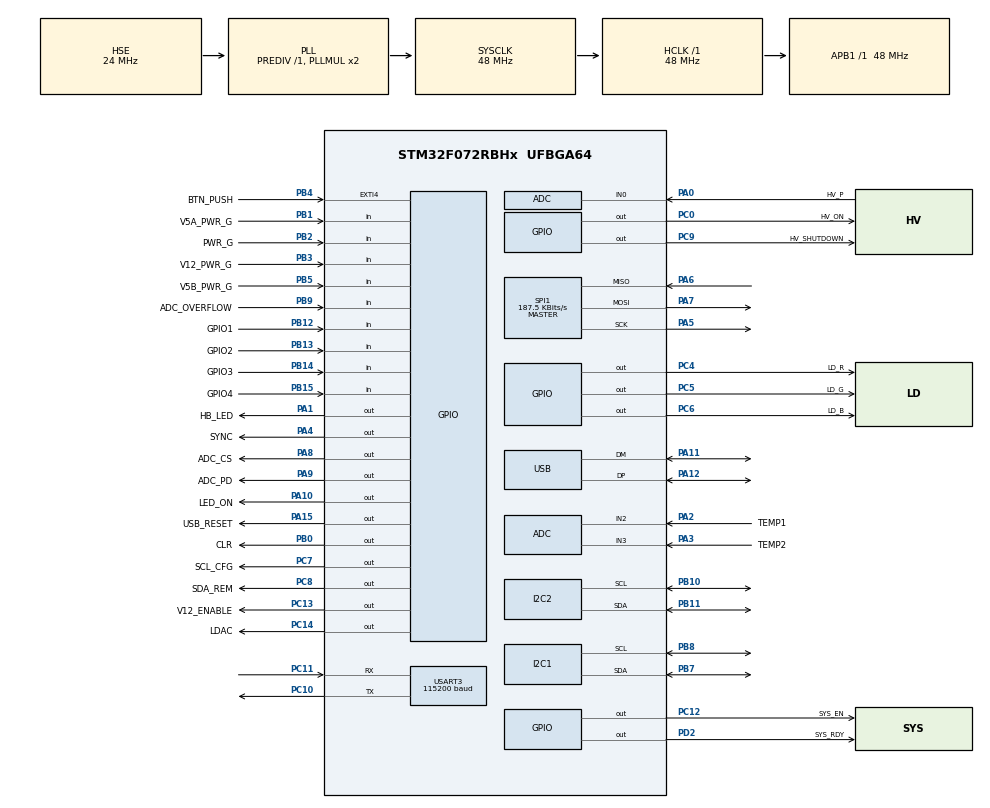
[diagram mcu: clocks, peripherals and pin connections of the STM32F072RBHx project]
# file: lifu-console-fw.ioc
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ADC.ClockPrescaler=ADC_CLOCK_SYNC_PCLK_DIV4
ADC.ContinuousConvMode=ENABLE
ADC.SamplingTime=ADC_SAMPLETIME_28CYCLES_5
Dma.Request0=USART3_RX
Dma.Request1=USART3_TX
Dma.Request2=TIM16_CH1/UP
Dma.TIM16_CH1/UP.2.Direction=DMA_PERIPH_TO_MEMORY
Dma.TIM16_CH1/UP.2.Instance=DMA1_Channel4
Dma.TIM16_CH1/UP.2.MemDataAlignment=DMA_MDATAALIGN_HALFWORD
Dma.TIM16_CH1/UP.2.MemInc=DMA_MINC_ENABLE
Dma.TIM16_CH1/UP.2.Mode=DMA_NORMAL
Dma.TIM16_CH1/UP.2.PeriphDataAlignment=DMA_PDATAALIGN_HALFWORD
Dma.TIM16_CH1/UP.2.PeriphInc=DMA_PINC_DISABLE
Dma.TIM16_CH1/UP.2.Priority=DMA_PRIORITY_LOW
Dma.USART3_RX.0.Direction=DMA_PERIPH_TO_MEMORY
Dma.USART3_RX.0.Instance=DMA1_Channel3
Dma.USART3_RX.0.MemDataAlignment=DMA_MDATAALIGN_BYTE
Dma.USART3_RX.0.MemInc=DMA_MINC_ENABLE
Dma.USART3_RX.0.Mode=DMA_NORMAL
Dma.USART3_RX.0.PeriphDataAlignment=DMA_PDATAALIGN_BYTE
Dma.USART3_RX.0.PeriphInc=DMA_PINC_DISABLE
Dma.USART3_RX.0.Priority=DMA_PRIORITY_LOW
Dma.USART3_TX.1.Direction=DMA_MEMORY_TO_PERIPH
Dma.USART3_TX.1.Instance=DMA1_Channel2
Dma.USART3_TX.1.MemDataAlignment=DMA_MDATAALIGN_BYTE
Dma.USART3_TX.1.MemInc=DMA_MINC_ENABLE
Dma.USART3_TX.1.Mode=DMA_NORMAL
Dma.USART3_TX.1.PeriphDataAlignment=DMA_PDATAALIGN_BYTE
Dma.USART3_TX.1.PeriphInc=DMA_PINC_DISABLE
Dma.USART3_TX.1.Priority=DMA_PRIORITY_LOW
I2C1.Timing=0x00201D2B
I2C2.I2C_Fall_Time=100
I2C2.I2C_Rise_Time=100
I2C2.Timing=0x10805D88
IWDG.Prescaler=IWDG_PRESCALER_64
IWDG.Reload=3125
Mcu.Family=STM32F0
Mcu.Name=STM32F072RBHx
Mcu.Package=UFBGA64
NVIC.DMA1_Channel2_3_IRQn=true\:0\:0\:false\:false\:true\:false\:true\:true
NVIC.DMA1_Channel4_5_6_7_IRQn=true\:0\:0\:false\:false\:true\:false\:true\:true
NVIC.I2C1_IRQn=true\:0\:0\:false\:false\:true\:true\:true\:true
NVIC.I2C2_IRQn=true\:0\:0\:false\:false\:true\:true\:true\:true
NVIC.TIM14_IRQn=true\:0\:0\:false\:false\:true\:true\:true\:true
NVIC.TIM15_IRQn=true\:3\:0\:false\:false\:true\:false\:true\:true
NVIC.TIM16_IRQn=true\:0\:0\:false\:false\:true\:true\:true\:true
NVIC.TIM17_IRQn=true\:0\:0\:false\:false\:true\:true\:true\:true
NVIC.TIM1_BRK_UP_TRG_COM_IRQn=true\:0\:0\:false\:false\:true\:true\:true\:true
NVIC.TIM1_CC_IRQn=true\:0\:0\:false\:false\:true\:true\:true\:true
NVIC.TIM6_DAC_IRQn=true\:0\:0\:false\:false\:true\:true\:true\:true
NVIC.TimeBase=TIM15_IRQn
NVIC.TimeBaseIP=TIM15
NVIC.USART3_4_IRQn=true\:0\:0\:false\:false\:true\:true\:true\:true
NVIC.USB_IRQn=true\:0\:0\:false\:false\:true\:false\:true\:true
PA0.GPIO_Label=HV_P
PA0.Mode=IN0
PA0.Signal=ADC_IN0
PA1.GPIO_Label=HB_LED
PA1.Signal=GPIO_Output
PA10.GPIO_Label=LED_ON
PA10.Signal=GPIO_Output
PA11.Mode=Device
PA11.Signal=USB_DM
PA12.Mode=Device
PA12.Signal=USB_DP
PA13.Mode=Serial_Wire
PA13.Signal=SYS_SWDIO
PA14.Mode=Serial_Wire
PA14.Signal=SYS_SWCLK
PA15.GPIO_Label=USB_RESET
PA15.Signal=GPIO_Output
PA2.GPIO_Label=TEMP1
PA2.Mode=IN2
PA2.Signal=ADC_IN2
PA3.GPIO_Label=TEMP2
PA3.Mode=IN3
PA3.Signal=ADC_IN3
PA4.GPIO_Label=SYNC
PA4.PinState=GPIO_PIN_SET
PA4.Signal=GPIO_Output
PA5.Mode=Full_Duplex_Master
PA5.Signal=SPI1_SCK
PA6.Mode=Full_Duplex_Master
PA6.Signal=SPI1_MISO
PA7.Mode=Full_Duplex_Master
PA7.Signal=SPI1_MOSI
PA8.GPIO_Label=ADC_CS
PA8.PinState=GPIO_PIN_SET
PA8.Signal=GPIO_Output
PA9.GPIO_Label=ADC_PD
PA9.PinState=GPIO_PIN_RESET
PA9.Signal=GPIO_Output
PB0.GPIO_Label=CLR
PB0.PinState=GPIO_PIN_SET
PB0.Signal=GPIO_Output
PB1.GPIO_Label=V5A_PWR_G
PB1.Signal=GPIO_Input
PB10.Mode=I2C
PB10.Signal=I2C2_SCL
PB11.Mode=I2C
PB11.Signal=I2C2_SDA
PB12.GPIO_Label=GPIO1
PB12.GPIO_PuPd=GPIO_PULLUP
PB12.Signal=GPIO_Input
PB13.GPIO_Label=GPIO2
PB13.Signal=GPIO_Input
PB14.GPIO_Label=GPIO3
PB14.Signal=GPIO_Input
PB15.GPIO_Label=GPIO4
PB15.Signal=GPIO_Input
PB2.GPIO_Label=PWR_G
PB2.Signal=GPIO_Input
PB3.GPIO_Label=V12_PWR_G
PB3.Signal=GPIO_Input
PB4.GPIO_Label=BTN_PUSH
PB4.Signal=GPXTI4
PB5.GPIO_Label=V5B_PWR_G
PB5.Signal=GPIO_Input
PB7.Mode=I2C
PB7.Signal=I2C1_SDA
PB8.Mode=I2C
PB8.Signal=I2C1_SCL
PB9.GPIO_Label=ADC_OVERFLOW
PB9.Signal=GPIO_Input
PC0.GPIO_Label=HV_ON
PC0.PinState=GPIO_PIN_SET
PC0.Signal=GPIO_Output
PC10.Mode=Asynchronous
PC10.Signal=USART3_TX
PC11.Mode=Asynchronous
PC11.Signal=USART3_RX
PC12.GPIO_Label=SYS_EN
PC12.Signal=GPIO_Output
PC13.GPIO_Label=V12_ENABLE
PC13.Signal=GPIO_Output
PC14-OSC32_IN.GPIO_Label=LDAC
PC14-OSC32_IN.PinState=GPIO_PIN_SET
PC14-OSC32_IN.Signal=GPIO_Output
PC4.GPIO_Label=LD_R
PC4.PinState=GPIO_PIN_SET
PC4.Signal=GPIO_Output
PC5.GPIO_Label=LD_G
PC5.Signal=GPIO_Output
PC6.GPIO_Label=LD_B
PC6.PinState=GPIO_PIN_SET
PC6.Signal=GPIO_Output
PC7.GPIO_Label=SCL_CFG
PC7.Signal=GPIO_Output
PC8.GPIO_Label=SDA_REM
PC8.Signal=GPIO_Output
PC9.GPIO_Label=HV_SHUTDOWN
PC9.Signal=GPIO_Output
PD2.GPIO_Label=SYS_RDY
PD2.Signal=GPIO_Output
PF0-OSC_IN.Mode=HSE-External-Oscillator
PF0-OSC_IN.Signal=RCC_OSC_IN
PF1-OSC_OUT.Mode=HSE-External-Oscillator
PF1-OSC_OUT.Signal=RCC_OSC_OUT
ProjectManager.HeapSize=0x200
ProjectManager.StackSize=0x400
ProjectManager.TargetToolchain=CMake
RCC.AHBFreq_Value=48000000
RCC.APB1Freq_Value=48000000
RCC.APB1TimFreq_Value=48000000
RCC.HCLKFreq_Value=48000000
RCC.HSE_VALUE=24000000
RCC.PLLSourceVirtual=RCC_PLLSOURCE_HSE
RCC.SYSCLKFreq_VALUE=48000000
RCC.SYSCLKSource=RCC_SYSCLKSOURCE_PLLCLK
SPI1.BaudRatePrescaler=SPI_BAUDRATEPRESCALER_256
SPI1.CLKPhase=SPI_PHASE_2EDGE
SPI1.CLKPolarity=SPI_POLARITY_LOW
SPI1.CalculateBaudRate=187.5 KBits/s
SPI1.DataSize=SPI_DATASIZE_8BIT
SPI1.Direction=SPI_DIRECTION_2LINES
SPI1.Mode=SPI_MODE_MASTER
SPI1.VirtualType=VM_MASTER
TIM1.Period=1000-1
TIM1.Prescaler=48000
TIM14.Period=1000-1
TIM14.Prescaler=48-1
TIM17.Period=1000-1
TIM17.Prescaler=48000-1
TIM2.Prescaler=48-1
TIM6.Period=1000-1
TIM6.Prescaler=4800-1
TIM7.Prescaler=48-1
USART3.BaudRate=115200
USART3.VirtualMode-Asynchronous=VM_ASYNC
USB_DEVICE.CLASS_NAME_FS=CDC
USB_DEVICE.PID_CDC_FS=0x57A0
USB_DEVICE.VID=0x483
USB_DEVICE.VirtualMode=Cdc
USB_DEVICE.VirtualModeFS=Cdc_FS
VP_CRC_VS_CRC.Mode=CRC_Activate
VP_IWDG_VS_IWDG.Mode=IWDG_Activate
VP_SYS_VS_tim15.Mode=TIM15
VP_TIM14_VS_ClockSourceINT.Mode=Enable_Timer
VP_TIM16_VS_ClockSourceINT.Mode=Enable_Timer
VP_TIM17_VS_ClockSourceINT.Mode=Enable_Timer
VP_TIM1_VS_ClockSourceINT.Mode=Internal
VP_TIM2_VS_ClockSourceINT.Mode=Internal
VP_TIM6_VS_ClockSourceINT.Mode=Enable_Timer
VP_TIM7_VS_ClockSourceINT.Mode=Enable_Timer
VP_USB_DEVICE_VS_USB_DEVICE_CDC_FS.Mode=CDC_FS
board=custom

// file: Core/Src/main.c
/* USER CODE BEGIN Header */
/**
  ******************************************************************************
  * @file           : main.c
  * @brief          : Main program body
  ******************************************************************************
  * @attention
  *
  * Copyright (c) 2024 STMicroelectronics.
  * All rights reserved.
  *
  * This software is licensed under terms that can be found in the LICENSE file
  * in the root directory of this software component.
  * If no LICENSE file comes with this software, it is provided AS-IS.
  *
  ******************************************************************************
  */
/* USER CODE END Header */
#include "main.h"
#include "usb_device.h"

/* USER CODE BEGIN Includes */
#include "common.h"
#include "i2c_master.h"
#include "logging.h"
#include "lifu_config.h"
#include "usbd_cdc_if.h"
#include "uart_comms.h"
#include "fan_driver.h"
#include "hv_supply.h"
#include "utils.h"
#include "rgb.h"

#include "ads8678.h"

#include <stdio.h>
#include <stdbool.h>
#include <string.h>

/* USER CODE END Includes */

/* USER CODE BEGIN PD */

#define BL_BKP_SIGNATURE           (0x4F57424CU) /* 'OWBL' */
#define BL_BKP_REQ_DFU_MAGIC       (0x21554644U) /* 'DFU!' -> Open-LIFU bootloader DFU */
#define BL_BKP_REQ_STM32_DFU_MAGIC (0x53554644U) /* 'DFUS' -> STM32 system bootloader */

static void bl_bkp_enable(void)
{
	__HAL_RCC_PWR_CLK_ENABLE();
	HAL_PWR_EnableBkUpAccess();

	if ((RCC->BDCR & RCC_BDCR_RTCEN) == 0U)
	{
		if ((RCC->BDCR & RCC_BDCR_RTCSEL) == 0U)
		{
			/* RTCSEL=10b -> LSI (RCC_BDCR_RTCSEL_1) */
			MODIFY_REG(RCC->BDCR, RCC_BDCR_RTCSEL, RCC_BDCR_RTCSEL_1);
		}
		SET_BIT(RCC->BDCR, RCC_BDCR_RTCEN);
	}
}
/* USER CODE END PD */

ADC_HandleTypeDef hadc;

CRC_HandleTypeDef hcrc;

I2C_HandleTypeDef hi2c1;
I2C_HandleTypeDef hi2c2;

IWDG_HandleTypeDef hiwdg;

SPI_HandleTypeDef hspi1;

TIM_HandleTypeDef htim1;
TIM_HandleTypeDef htim2;
TIM_HandleTypeDef htim6;
TIM_HandleTypeDef htim7;
TIM_HandleTypeDef htim14;
TIM_HandleTypeDef htim16;
TIM_HandleTypeDef htim17;
DMA_HandleTypeDef hdma_tim16_ch1_up;

UART_HandleTypeDef huart3;
DMA_HandleTypeDef hdma_usart3_rx;
DMA_HandleTypeDef hdma_usart3_tx;

/* USER CODE BEGIN PV */
uint8_t rxBuffer[COMMAND_MAX_SIZE];
uint8_t txBuffer[COMMAND_MAX_SIZE];

extern FAN_Driver fan[2];

LifuConfig config;

volatile bool _enter_dfu = false;
volatile bool _force_stm32_dfu = false;

/* USER CODE END PV */

void SystemClock_Config(void);
static void MX_GPIO_Init(void);
static void MX_DMA_Init(void);
static void MX_ADC_Init(void);
static void MX_CRC_Init(void);
static void MX_I2C1_Init(void);
static void MX_I2C2_Init(void);
static void MX_SPI1_Init(void);
static void MX_USART3_UART_Init(void);
static void MX_TIM14_Init(void);
static void MX_TIM17_Init(void);
static void MX_TIM6_Init(void);
static void MX_TIM7_Init(void);
static void MX_TIM2_Init(void);
static void MX_IWDG_Init(void);
static void MX_TIM1_Init(void);
static void MX_TIM16_Init(void);
/* USER CODE BEGIN PFP */

void bootloader_mark_boot_ok(void)
{
	bl_bkp_enable();
	RTC->BKP0R = BL_BKP_SIGNATURE;
	RTC->BKP2R = 0U; /* clears in-progress/force bits + failure count */
	RTC->BKP3R = 0U; /* clears last-bad-fw marker */
	__DSB();
	__ISB();
}

static inline void app_iwdg_refresh(void)
{
  /* Bootloader enables IWDG before app jump; refresh it periodically. */
  IWDG->KR = 0xAAAAU;
}

/* USER CODE END PFP */

/* USER CODE BEGIN 0 */
static lifu_cfg_t *cfg;
ADS8678__HandleTypeDef vmon_adc;

/* USER CODE END 0 */

int main(void)
{

  /* MCU Configuration--------------------------------------------------------*/

  /* Reset of all peripherals, Initializes the Flash interface and the Systick. */
  HAL_Init();

  /* Configure the system clock */
  SystemClock_Config();

  /* Initialize all configured peripherals */
  MX_GPIO_Init();
  MX_DMA_Init();
  MX_ADC_Init();
  MX_CRC_Init();
  MX_I2C1_Init();
  MX_I2C2_Init();
  MX_SPI1_Init();
  MX_USB_DEVICE_Init();
  MX_USART3_UART_Init();
  MX_TIM14_Init();
  MX_TIM17_Init();
  MX_TIM6_Init();
  MX_TIM7_Init();
  MX_TIM2_Init();
  MX_IWDG_Init();
  MX_TIM1_Init();
  MX_TIM16_Init();
  /* USER CODE BEGIN 2 */

  US_Delay_Init();

  init_dma_logging();
  printf("\033c");
  printf("Open-LIFU Console Controller\r\n\r\n");
  printf("FW: %s (%s)\r\nDate: %s\r\n",
       FW_VERSION_STRING,
       FW_SHA_STRING,
       FW_BUILD_TIME_STRING);

  printf("CPU Clock Frequency: %lu MHz\r\n", HAL_RCC_GetSysClockFreq() / 1000000);

  // Initialize RGB LED
  RGB_Init();

  // disable power supply
  HV_Disable();
  // clear dac
  HV_ClearDAC();

  HAL_Delay(100);

  cfg = (lifu_cfg_t *)lifu_cfg_get();

  // If the number was negative, make sure the sign is only on the whole part
  printf("hv_settng=%d hv_enabled=%u auto_on=%u json=%s seq=%lu\r\n",
		  cfg->hv_settng,
         cfg->hv_enabled,
         cfg->auto_on,
         cfg->json,
         (unsigned long)cfg->seq);

  System_Enable();

  // reset hub

  HAL_GPIO_WritePin(USB_RESET_GPIO_Port, USB_RESET_Pin, GPIO_PIN_RESET);
  HAL_GPIO_WritePin(SCL_CFG_GPIO_Port, SCL_CFG_Pin, GPIO_PIN_RESET);
  HAL_GPIO_WritePin(SDA_REM_GPIO_Port, SDA_REM_Pin, GPIO_PIN_RESET);

  // bring usb hub out of reset
  HAL_GPIO_WritePin(USB_RESET_GPIO_Port, USB_RESET_Pin, GPIO_PIN_SET);

  HAL_Delay(300);

  MX_USB_DEVICE_Init();

  HV_RegisterInterlock();

  /* USER CODE END 2 */

  /* Infinite loop */
  /* USER CODE BEGIN WHILE */
  printf("\r\nController initialize and running\r\n");
  HAL_GPIO_WritePin(SYS_RDY_GPIO_Port, SYS_RDY_Pin, GPIO_PIN_RESET);
  HAL_GPIO_WritePin(HB_LED_GPIO_Port, HB_LED_Pin, GPIO_PIN_SET);

  //printf("I2C1 \r\n");
  //I2C_scan(&hi2c1);  // 0x49

  // printf("I2C2 \r\n");
  // I2C_scan(&hi2c2);  // 0x6D

  vmon_adc.spi = &hspi1;
  vmon_adc.cs_port = ADC_CS_GPIO_Port;
  vmon_adc.cs_pin = ADC_CS_Pin;
  vmon_adc.rst_port = ADC_PD_GPIO_Port;
  vmon_adc.rst_pin = ADC_PD_Pin;
  vmon_adc.spi_timeout_ms = 100;

  HAL_Delay(150);

  printf("\r\nTurning 12V on\r\n");
  HAL_GPIO_WritePin(V12_ENABLE_GPIO_Port, V12_ENABLE_Pin, GPIO_PIN_SET);

  HAL_Delay(150);

  // Initialize Bottom Fan
  FAN_Init(&fan[0], &hi2c2, 0x2E);

  uint8_t fan_btm_dev_id = FAN_ReadDeviceID(&fan[0]);
  uint8_t fan_btm_mfg_id = FAN_ReadManufacturerID(&fan[0]);
  if(fan_btm_dev_id != MAX6663_DEVICE_ID && fan_btm_mfg_id != MAX6663_MAN_ID) {
	  printf("Failed to initialize Top Fan IC\r\n");
  } else {
	  printf("Bottom Fan MAX6663 Device ID: 0x%02X, Manufacturer ID: 0x%02X\r\n", fan_btm_dev_id, fan_btm_mfg_id);

	  if(!FAN_EnableMonitoring(&fan[0])){
		  printf("Failed to enable fan monitoring\r\n");
	  }

	  FAN_SetManualPWM(&fan[0], 0);
  }

  // Initialize Top Fan
  FAN_Init(&fan[1], &hi2c2, 0x2C);

  uint8_t fan_top_dev_id = FAN_ReadDeviceID(&fan[1]);
  uint8_t fan_top_mfg_id = FAN_ReadManufacturerID(&fan[1]);
  if(fan_top_dev_id != MAX6663_DEVICE_ID && fan_top_mfg_id != MAX6663_MAN_ID) {
	  printf("Failed to initialize Top Fan IC\r\n");
  } else {
	  printf("Top Fan MAX6663 Device ID: 0x%02X, Manufacturer ID: 0x%02X\r\n", fan_top_dev_id, fan_top_mfg_id);

	  if(!FAN_EnableMonitoring(&fan[1])){
		  printf("Failed to enable fan monitoring\r\n");
	  }

	  FAN_SetManualPWM(&fan[1], 0);
  }

  // Initialize the ADS8678 ADC
  if (ADS8678_Init(&vmon_adc) == HAL_OK) {
      printf("ADS8678 initialized successfully\r\n");
      HAL_Delay(100);
      // Read all ADC channels and display voltages
      read_all_adc_channels(&vmon_adc, NULL);

  } else {
      printf("Failed to initialize ADS8678\r\n");
  }

  if(HAL_TIM_Base_Start_IT(&htim1) != HAL_OK){
    Error_Handler();
  }
  bootloader_mark_boot_ok();
  app_iwdg_refresh();

  comms_start_task();

  while (1)
  {
    /* USER CODE END WHILE */

    /* USER CODE BEGIN 3 */
    HAL_GPIO_TogglePin(HB_LED_GPIO_Port, HB_LED_Pin);
    HAL_Delay(250);
  }
  /* USER CODE END 3 */
}

void SystemClock_Config(void)
{
  RCC_OscInitTypeDef RCC_OscInitStruct = {0};
  RCC_ClkInitTypeDef RCC_ClkInitStruct = {0};
  RCC_PeriphCLKInitTypeDef PeriphClkInit = {0};

  /** Initializes the RCC Oscillators according to the specified parameters
  * in the RCC_OscInitTypeDef structure.
  */
  RCC_OscInitStruct.OscillatorType = RCC_OSCILLATORTYPE_HSI|RCC_OSCILLATORTYPE_HSI48
                              |RCC_OSCILLATORTYPE_LSI|RCC_OSCILLATORTYPE_HSE;
  RCC_OscInitStruct.HSEState = RCC_HSE_ON;
  RCC_OscInitStruct.HSIState = RCC_HSI_ON;
  RCC_OscInitStruct.HSI48State = RCC_HSI48_ON;
  RCC_OscInitStruct.HSICalibrationValue = RCC_HSICALIBRATION_DEFAULT;
  RCC_OscInitStruct.LSIState = RCC_LSI_ON;
  RCC_OscInitStruct.PLL.PLLState = RCC_PLL_ON;
  RCC_OscInitStruct.PLL.PLLSource = RCC_PLLSOURCE_HSE;
  RCC_OscInitStruct.PLL.PLLMUL = RCC_PLL_MUL2;
  RCC_OscInitStruct.PLL.PREDIV = RCC_PREDIV_DIV1;
  if (HAL_RCC_OscConfig(&RCC_OscInitStruct) != HAL_OK)
  {
    Error_Handler();
  }

  /** Initializes the CPU, AHB and APB buses clocks
  */
  RCC_ClkInitStruct.ClockType = RCC_CLOCKTYPE_HCLK|RCC_CLOCKTYPE_SYSCLK
                              |RCC_CLOCKTYPE_PCLK1;
  RCC_ClkInitStruct.SYSCLKSource = RCC_SYSCLKSOURCE_PLLCLK;
  RCC_ClkInitStruct.AHBCLKDivider = RCC_SYSCLK_DIV1;
  RCC_ClkInitStruct.APB1CLKDivider = RCC_HCLK_DIV1;

  if (HAL_RCC_ClockConfig(&RCC_ClkInitStruct, FLASH_LATENCY_1) != HAL_OK)
  {
    Error_Handler();
  }
  PeriphClkInit.PeriphClockSelection = RCC_PERIPHCLK_USB|RCC_PERIPHCLK_I2C1;
  PeriphClkInit.I2c1ClockSelection = RCC_I2C1CLKSOURCE_HSI;
  PeriphClkInit.UsbClockSelection = RCC_USBCLKSOURCE_HSI48;

  if (HAL_RCCEx_PeriphCLKConfig(&PeriphClkInit) != HAL_OK)
  {
    Error_Handler();
  }
}

static void MX_ADC_Init(void)
{

  ADC_ChannelConfTypeDef sConfig = {0};

  /** Configure the global features of the ADC (Clock, Resolution, Data Alignment and number of conversion)
  */
  hadc.Instance = ADC1;
  hadc.Init.ClockPrescaler = ADC_CLOCK_SYNC_PCLK_DIV4;
  hadc.Init.Resolution = ADC_RESOLUTION_12B;
  hadc.Init.DataAlign = ADC_DATAALIGN_RIGHT;
  hadc.Init.ScanConvMode = ADC_SCAN_DIRECTION_FORWARD;
  hadc.Init.EOCSelection = ADC_EOC_SINGLE_CONV;
  hadc.Init.LowPowerAutoWait = DISABLE;
  hadc.Init.LowPowerAutoPowerOff = DISABLE;
  hadc.Init.ContinuousConvMode = ENABLE;
  hadc.Init.DiscontinuousConvMode = DISABLE;
  hadc.Init.ExternalTrigConv = ADC_SOFTWARE_START;
  hadc.Init.ExternalTrigConvEdge = ADC_EXTERNALTRIGCONVEDGE_NONE;
  hadc.Init.DMAContinuousRequests = DISABLE;
  hadc.Init.Overrun = ADC_OVR_DATA_PRESERVED;
  if (HAL_ADC_Init(&hadc) != HAL_OK)
  {
    Error_Handler();
  }

  /** Configure for the selected ADC regular channel to be converted.
  */
  sConfig.Channel = ADC_CHANNEL_0;
  sConfig.Rank = ADC_RANK_CHANNEL_NUMBER;
  sConfig.SamplingTime = ADC_SAMPLETIME_28CYCLES_5;
  if (HAL_ADC_ConfigChannel(&hadc, &sConfig) != HAL_OK)
  {
    Error_Handler();
  }

  /** Configure for the selected ADC regular channel to be converted.
  */
  sConfig.Channel = ADC_CHANNEL_2;
  if (HAL_ADC_ConfigChannel(&hadc, &sConfig) != HAL_OK)
  {
    Error_Handler();
  }

  /** Configure for the selected ADC regular channel to be converted.
  */
  sConfig.Channel = ADC_CHANNEL_3;
  if (HAL_ADC_ConfigChannel(&hadc, &sConfig) != HAL_OK)
  {
    Error_Handler();
  }

}

static void MX_CRC_Init(void)
{

  hcrc.Instance = CRC;
  hcrc.Init.DefaultPolynomialUse = DEFAULT_POLYNOMIAL_ENABLE;
  hcrc.Init.DefaultInitValueUse = DEFAULT_INIT_VALUE_ENABLE;
  hcrc.Init.InputDataInversionMode = CRC_INPUTDATA_INVERSION_NONE;
  hcrc.Init.OutputDataInversionMode = CRC_OUTPUTDATA_INVERSION_DISABLE;
  hcrc.InputDataFormat = CRC_INPUTDATA_FORMAT_BYTES;
  if (HAL_CRC_Init(&hcrc) != HAL_OK)
  {
    Error_Handler();
  }

}

static void MX_I2C1_Init(void)
{

  hi2c1.Instance = I2C1;
  hi2c1.Init.Timing = 0x00201D2B;
  hi2c1.Init.OwnAddress1 = 0;
  hi2c1.Init.AddressingMode = I2C_ADDRESSINGMODE_7BIT;
  hi2c1.Init.DualAddressMode = I2C_DUALADDRESS_DISABLE;
  hi2c1.Init.OwnAddress2 = 0;
  hi2c1.Init.OwnAddress2Masks = I2C_OA2_NOMASK;
  hi2c1.Init.GeneralCallMode = I2C_GENERALCALL_DISABLE;
  hi2c1.Init.NoStretchMode = I2C_NOSTRETCH_DISABLE;
  if (HAL_I2C_Init(&hi2c1) != HAL_OK)
  {
    Error_Handler();
  }

  /** Configure Analogue filter
  */
  if (HAL_I2CEx_ConfigAnalogFilter(&hi2c1, I2C_ANALOGFILTER_ENABLE) != HAL_OK)
  {
    Error_Handler();
  }

  /** Configure Digital filter
  */
  if (HAL_I2CEx_ConfigDigitalFilter(&hi2c1, 0) != HAL_OK)
  {
    Error_Handler();
  }

}

static void MX_I2C2_Init(void)
{

  hi2c2.Instance = I2C2;
  hi2c2.Init.Timing = 0x10805D88;
  hi2c2.Init.OwnAddress1 = 0;
  hi2c2.Init.AddressingMode = I2C_ADDRESSINGMODE_7BIT;
  hi2c2.Init.DualAddressMode = I2C_DUALADDRESS_DISABLE;
  hi2c2.Init.OwnAddress2 = 0;
  hi2c2.Init.OwnAddress2Masks = I2C_OA2_NOMASK;
  hi2c2.Init.GeneralCallMode = I2C_GENERALCALL_DISABLE;
  hi2c2.Init.NoStretchMode = I2C_NOSTRETCH_DISABLE;
  if (HAL_I2C_Init(&hi2c2) != HAL_OK)
  {
    Error_Handler();
  }

  /** Configure Analogue filter
  */
  if (HAL_I2CEx_ConfigAnalogFilter(&hi2c2, I2C_ANALOGFILTER_ENABLE) != HAL_OK)
  {
    Error_Handler();
  }

  /** Configure Digital filter
  */
  if (HAL_I2CEx_ConfigDigitalFilter(&hi2c2, 0) != HAL_OK)
  {
    Error_Handler();
  }

}

static void MX_IWDG_Init(void)
{

  hiwdg.Instance = IWDG;
  hiwdg.Init.Prescaler = IWDG_PRESCALER_64;
  hiwdg.Init.Window = 4095;
  hiwdg.Init.Reload = 3125;
  if (HAL_IWDG_Init(&hiwdg) != HAL_OK)
  {
    Error_Handler();
  }

}

static void MX_SPI1_Init(void)
{

  /* SPI1 parameter configuration*/
  hspi1.Instance = SPI1;
  hspi1.Init.Mode = SPI_MODE_MASTER;
  hspi1.Init.Direction = SPI_DIRECTION_2LINES;
  hspi1.Init.DataSize = SPI_DATASIZE_8BIT;
  hspi1.Init.CLKPolarity = SPI_POLARITY_LOW;
  hspi1.Init.CLKPhase = SPI_PHASE_2EDGE;
  hspi1.Init.NSS = SPI_NSS_SOFT;
  hspi1.Init.BaudRatePrescaler = SPI_BAUDRATEPRESCALER_256;
  hspi1.Init.FirstBit = SPI_FIRSTBIT_MSB;
  hspi1.Init.TIMode = SPI_TIMODE_DISABLE;
  hspi1.Init.CRCCalculation = SPI_CRCCALCULATION_DISABLE;
  hspi1.Init.CRCPolynomial = 7;
  hspi1.Init.CRCLength = SPI_CRC_LENGTH_DATASIZE;
  hspi1.Init.NSSPMode = SPI_NSS_PULSE_DISABLE;
  if (HAL_SPI_Init(&hspi1) != HAL_OK)
  {
    Error_Handler();
  }

}

static void MX_TIM1_Init(void)
{

  TIM_ClockConfigTypeDef sClockSourceConfig = {0};
  TIM_MasterConfigTypeDef sMasterConfig = {0};

  htim1.Instance = TIM1;
  htim1.Init.Prescaler = 48000;
  htim1.Init.CounterMode = TIM_COUNTERMODE_UP;
  htim1.Init.Period = 1000-1;
  htim1.Init.ClockDivision = TIM_CLOCKDIVISION_DIV1;
  htim1.Init.RepetitionCounter = 0;
  htim1.Init.AutoReloadPreload = TIM_AUTORELOAD_PRELOAD_DISABLE;
  if (HAL_TIM_Base_Init(&htim1) != HAL_OK)
  {
    Error_Handler();
  }
  sClockSourceConfig.ClockSource = TIM_CLOCKSOURCE_INTERNAL;
  if (HAL_TIM_ConfigClockSource(&htim1, &sClockSourceConfig) != HAL_OK)
  {
    Error_Handler();
  }
  sMasterConfig.MasterOutputTrigger = TIM_TRGO_RESET;
  sMasterConfig.MasterSlaveMode = TIM_MASTERSLAVEMODE_DISABLE;
  if (HAL_TIMEx_MasterConfigSynchronization(&htim1, &sMasterConfig) != HAL_OK)
  {
    Error_Handler();
  }
  /* USER CODE BEGIN TIM1_Init 2 */
  /* Enable TIM1 update IRQ (break/update/trigger/comm)
     so HAL_TIM_IRQHandler can call the period callback. */
  HAL_NVIC_SetPriority(TIM1_BRK_UP_TRG_COM_IRQn, 1, 0);
  HAL_NVIC_EnableIRQ(TIM1_BRK_UP_TRG_COM_IRQn);

  /* USER CODE END TIM1_Init 2 */

}

static void MX_TIM2_Init(void)
{

  TIM_ClockConfigTypeDef sClockSourceConfig = {0};
  TIM_MasterConfigTypeDef sMasterConfig = {0};

  htim2.Instance = TIM2;
  htim2.Init.Prescaler = 48-1;
  htim2.Init.CounterMode = TIM_COUNTERMODE_UP;
  htim2.Init.Period = 4294967295;
  htim2.Init.ClockDivision = TIM_CLOCKDIVISION_DIV1;
  htim2.Init.AutoReloadPreload = TIM_AUTORELOAD_PRELOAD_DISABLE;
  if (HAL_TIM_Base_Init(&htim2) != HAL_OK)
  {
    Error_Handler();
  }
  sClockSourceConfig.ClockSource = TIM_CLOCKSOURCE_INTERNAL;
  if (HAL_TIM_ConfigClockSource(&htim2, &sClockSourceConfig) != HAL_OK)
  {
    Error_Handler();
  }
  sMasterConfig.MasterOutputTrigger = TIM_TRGO_RESET;
  sMasterConfig.MasterSlaveMode = TIM_MASTERSLAVEMODE_DISABLE;
  if (HAL_TIMEx_MasterConfigSynchronization(&htim2, &sMasterConfig) != HAL_OK)
  {
    Error_Handler();
  }

}

static void MX_TIM6_Init(void)
{

  TIM_MasterConfigTypeDef sMasterConfig = {0};

  htim6.Instance = TIM6;
  htim6.Init.Prescaler = 4800-1;
  htim6.Init.CounterMode = TIM_COUNTERMODE_UP;
  htim6.Init.Period = 1000-1;
  htim6.Init.AutoReloadPreload = TIM_AUTORELOAD_PRELOAD_DISABLE;
  if (HAL_TIM_Base_Init(&htim6) != HAL_OK)
  {
    Error_Handler();
  }
  sMasterConfig.MasterOutputTrigger = TIM_TRGO_RESET;
  sMasterConfig.MasterSlaveMode = TIM_MASTERSLAVEMODE_DISABLE;
  if (HAL_TIMEx_MasterConfigSynchronization(&htim6, &sMasterConfig) != HAL_OK)
  {
    Error_Handler();
  }

}

static void MX_TIM7_Init(void)
{

  TIM_MasterConfigTypeDef sMasterConfig = {0};

  htim7.Instance = TIM7;
  htim7.Init.Prescaler = 48-1;
  htim7.Init.CounterMode = TIM_COUNTERMODE_UP;
  htim7.Init.Period = 65535;
  htim7.Init.AutoReloadPreload = TIM_AUTORELOAD_PRELOAD_DISABLE;
  if (HAL_TIM_Base_Init(&htim7) != HAL_OK)
  {
    Error_Handler();
  }
  sMasterConfig.MasterOutputTrigger = TIM_TRGO_RESET;
  sMasterConfig.MasterSlaveMode = TIM_MASTERSLAVEMODE_DISABLE;
  if (HAL_TIMEx_MasterConfigSynchronization(&htim7, &sMasterConfig) != HAL_OK)
  {
    Error_Handler();
  }

}

static void MX_TIM14_Init(void)
{

  htim14.Instance = TIM14;
  htim14.Init.Prescaler = 48-1;
  htim14.Init.CounterMode = TIM_COUNTERMODE_UP;
  htim14.Init.Period = 1000-1;
  htim14.Init.ClockDivision = TIM_CLOCKDIVISION_DIV1;
  htim14.Init.AutoReloadPreload = TIM_AUTORELOAD_PRELOAD_DISABLE;
  if (HAL_TIM_Base_Init(&htim14) != HAL_OK)
  {
    Error_Handler();
  }

}

static void MX_TIM16_Init(void)
{

  htim16.Instance = TIM16;
  htim16.Init.Prescaler = 0;
  htim16.Init.CounterMode = TIM_COUNTERMODE_UP;
  htim16.Init.Period = 65535;
  htim16.Init.ClockDivision = TIM_CLOCKDIVISION_DIV1;
  htim16.Init.RepetitionCounter = 0;
  htim16.Init.AutoReloadPreload = TIM_AUTORELOAD_PRELOAD_DISABLE;
  if (HAL_TIM_Base_Init(&htim16) != HAL_OK)
  {
    Error_Handler();
  }

}

static void MX_TIM17_Init(void)
{

  htim17.Instance = TIM17;
  htim17.Init.Prescaler = 48000-1;
  htim17.Init.CounterMode = TIM_COUNTERMODE_UP;
  htim17.Init.Period = 1000-1;
  htim17.Init.ClockDivision = TIM_CLOCKDIVISION_DIV1;
  htim17.Init.RepetitionCounter = 0;
  htim17.Init.AutoReloadPreload = TIM_AUTORELOAD_PRELOAD_DISABLE;
  if (HAL_TIM_Base_Init(&htim17) != HAL_OK)
  {
    Error_Handler();
  }

}

static void MX_USART3_UART_Init(void)
{

  huart3.Instance = USART3;
  huart3.Init.BaudRate = 115200;
  huart3.Init.WordLength = UART_WORDLENGTH_8B;
  huart3.Init.StopBits = UART_STOPBITS_1;
  huart3.Init.Parity = UART_PARITY_NONE;
  huart3.Init.Mode = UART_MODE_TX_RX;
  huart3.Init.HwFlowCtl = UART_HWCONTROL_NONE;
  huart3.Init.OverSampling = UART_OVERSAMPLING_16;
  huart3.Init.OneBitSampling = UART_ONE_BIT_SAMPLE_DISABLE;
  huart3.AdvancedInit.AdvFeatureInit = UART_ADVFEATURE_NO_INIT;
  if (HAL_UART_Init(&huart3) != HAL_OK)
  {
    Error_Handler();
  }

}

static void MX_DMA_Init(void)
{

  /* DMA controller clock enable */
  __HAL_RCC_DMA1_CLK_ENABLE();

  /* DMA interrupt init */
  /* DMA1_Channel2_3_IRQn interrupt configuration */
  HAL_NVIC_SetPriority(DMA1_Channel2_3_IRQn, 0, 0);
  HAL_NVIC_EnableIRQ(DMA1_Channel2_3_IRQn);
  /* DMA1_Channel4_5_6_7_IRQn interrupt configuration */
  HAL_NVIC_SetPriority(DMA1_Channel4_5_6_7_IRQn, 0, 0);
  HAL_NVIC_EnableIRQ(DMA1_Channel4_5_6_7_IRQn);

}

static void MX_GPIO_Init(void)
{
  GPIO_InitTypeDef GPIO_InitStruct = {0};

  /* GPIO Ports Clock Enable */
  __HAL_RCC_GPIOC_CLK_ENABLE();
  __HAL_RCC_GPIOB_CLK_ENABLE();
  __HAL_RCC_GPIOA_CLK_ENABLE();
  __HAL_RCC_GPIOD_CLK_ENABLE();
  __HAL_RCC_GPIOF_CLK_ENABLE();

  /*Configure GPIO pin Output Level */
  HAL_GPIO_WritePin(GPIOC, LDAC_Pin|HV_ON_Pin|LD_B_Pin|LD_R_Pin, GPIO_PIN_SET);

  /*Configure GPIO pin Output Level */
  HAL_GPIO_WritePin(GPIOC, V12_ENABLE_Pin|SYS_EN_Pin|HV_SHUTDOWN_Pin|SCL_CFG_Pin
                          |SDA_REM_Pin|LD_G_Pin, GPIO_PIN_RESET);

  /*Configure GPIO pin Output Level */
  HAL_GPIO_WritePin(GPIOA, USB_RESET_Pin|LED_ON_Pin|ADC_PD_Pin|HB_LED_Pin, GPIO_PIN_RESET);

  /*Configure GPIO pin Output Level */
  HAL_GPIO_WritePin(SYS_RDY_GPIO_Port, SYS_RDY_Pin, GPIO_PIN_RESET);

  /*Configure GPIO pin Output Level */
  HAL_GPIO_WritePin(GPIOA, ADC_CS_Pin|SYNC_Pin, GPIO_PIN_SET);

  /*Configure GPIO pin Output Level */
  HAL_GPIO_WritePin(CLR_GPIO_Port, CLR_Pin, GPIO_PIN_SET);

  /*Configure GPIO pins : LDAC_Pin V12_ENABLE_Pin SYS_EN_Pin HV_SHUTDOWN_Pin
                           HV_ON_Pin SCL_CFG_Pin SDA_REM_Pin LD_B_Pin
                           LD_R_Pin LD_G_Pin */
  GPIO_InitStruct.Pin = LDAC_Pin|V12_ENABLE_Pin|SYS_EN_Pin|HV_SHUTDOWN_Pin
                          |HV_ON_Pin|SCL_CFG_Pin|SDA_REM_Pin|LD_B_Pin
                          |LD_R_Pin|LD_G_Pin;
  GPIO_InitStruct.Mode = GPIO_MODE_OUTPUT_PP;
  GPIO_InitStruct.Pull = GPIO_NOPULL;
  GPIO_InitStruct.Speed = GPIO_SPEED_FREQ_LOW;
  HAL_GPIO_Init(GPIOC, &GPIO_InitStruct);

  /*Configure GPIO pins : ADC_OVERFLOW_Pin V12_PWR_G_Pin V5B_PWR_G_Pin GPIO4_Pin
                           GPIO3_Pin V5A_PWR_G_Pin PWR_G_Pin GPIO2_Pin */
  GPIO_InitStruct.Pin = ADC_OVERFLOW_Pin|V12_PWR_G_Pin|V5B_PWR_G_Pin|GPIO4_Pin
                          |GPIO3_Pin|V5A_PWR_G_Pin|PWR_G_Pin|GPIO2_Pin;
  GPIO_InitStruct.Mode = GPIO_MODE_INPUT;
  GPIO_InitStruct.Pull = GPIO_NOPULL;
  HAL_GPIO_Init(GPIOB, &GPIO_InitStruct);

  /*Configure GPIO pin : BTN_PUSH_Pin */
  GPIO_InitStruct.Pin = BTN_PUSH_Pin;
  GPIO_InitStruct.Mode = GPIO_MODE_IT_RISING;
  GPIO_InitStruct.Pull = GPIO_NOPULL;
  HAL_GPIO_Init(BTN_PUSH_GPIO_Port, &GPIO_InitStruct);

  /*Configure GPIO pins : USB_RESET_Pin LED_ON_Pin ADC_PD_Pin ADC_CS_Pin
                           HB_LED_Pin SYNC_Pin */
  GPIO_InitStruct.Pin = USB_RESET_Pin|LED_ON_Pin|ADC_PD_Pin|ADC_CS_Pin
                          |HB_LED_Pin|SYNC_Pin;
  GPIO_InitStruct.Mode = GPIO_MODE_OUTPUT_PP;
  GPIO_InitStruct.Pull = GPIO_NOPULL;
  GPIO_InitStruct.Speed = GPIO_SPEED_FREQ_LOW;
  HAL_GPIO_Init(GPIOA, &GPIO_InitStruct);

  /*Configure GPIO pin : SYS_RDY_Pin */
  GPIO_InitStruct.Pin = SYS_RDY_Pin;
  GPIO_InitStruct.Mode = GPIO_MODE_OUTPUT_PP;
  GPIO_InitStruct.Pull = GPIO_NOPULL;
  GPIO_InitStruct.Speed = GPIO_SPEED_FREQ_LOW;
  HAL_GPIO_Init(SYS_RDY_GPIO_Port, &GPIO_InitStruct);

  /*Configure GPIO pin : CLR_Pin */
  GPIO_InitStruct.Pin = CLR_Pin;
  GPIO_InitStruct.Mode = GPIO_MODE_OUTPUT_PP;
  GPIO_InitStruct.Pull = GPIO_NOPULL;
  GPIO_InitStruct.Speed = GPIO_SPEED_FREQ_LOW;
  HAL_GPIO_Init(CLR_GPIO_Port, &GPIO_InitStruct);

  /*Configure GPIO pin : GPIO1_Pin */
  GPIO_InitStruct.Pin = GPIO1_Pin;
  GPIO_InitStruct.Mode = GPIO_MODE_INPUT;
  GPIO_InitStruct.Pull = GPIO_PULLUP;
  HAL_GPIO_Init(GPIO1_GPIO_Port, &GPIO_InitStruct);

}

/* USER CODE BEGIN 4 */

void HAL_UART_RxCpltCallback(UART_HandleTypeDef *huart)
{

}

void HAL_UART_TxCpltCallback(UART_HandleTypeDef *huart)
{
	if(huart->Instance == USART3)
	{
		logging_UART_TxCpltCallback(huart);
	}
}

/* USER CODE END 4 */

void HAL_TIM_PeriodElapsedCallback(TIM_HandleTypeDef *htim)
{
  /* USER CODE BEGIN Callback 0 */
  if(htim->Instance == TIM1) {
    app_iwdg_refresh();
  }

  if (htim->Instance == TIM14) {
	  CDC_Idle_Timer_Handler();
  }

  if (htim->Instance == TIM6) {

  	// set regulator DACs
	  set_current_dac();

  }

  /* USER CODE END Callback 0 */
  if (htim->Instance == TIM15)
  {
    HAL_IncTick();
  }
  /* USER CODE BEGIN Callback 1 */
  if (htim->Instance == TIM17) {
      // Stop the timer to prevent re-triggering
      HAL_TIM_Base_Stop_IT(htim);

      if(_enter_dfu){
        // jump to bootloader DFU
        // 16k SRAM in address 0x2000 0000 - 0x2000 3FFF
        //*((unsigned long *)0x20003FF0) = 0xDEADBEEF;
        if(_force_stm32_dfu){
          // Force STM32 bootloader DFU
          bl_bkp_enable();
          RTC->BKP0R = BL_BKP_SIGNATURE;
          RTC->BKP1R = BL_BKP_REQ_STM32_DFU_MAGIC;
        } else {
            // Force Open-LIFU bootloader DFU
          bl_bkp_enable();
          RTC->BKP0R = BL_BKP_SIGNATURE;
          RTC->BKP1R = BL_BKP_REQ_DFU_MAGIC;
        }
      }

      MX_USB_DEVICE_DeInit();

      __DSB();
      __ISB();
      delay_ms(200);

	  // Reset the board
	  NVIC_SystemReset();
  }
  /* USER CODE END Callback 1 */
}

void Error_Handler(void)
{
  /* USER CODE BEGIN Error_Handler_Debug */
  /* User can add his own implementation to report the HAL error return state */

  __disable_irq();
  while (1)
  {
    RGB_Set(RGB_BLUE);
    delay_ms(500);
    RGB_Set(RGB_OFF);
    delay_ms(500);
  }
  /* USER CODE END Error_Handler_Debug */
}
